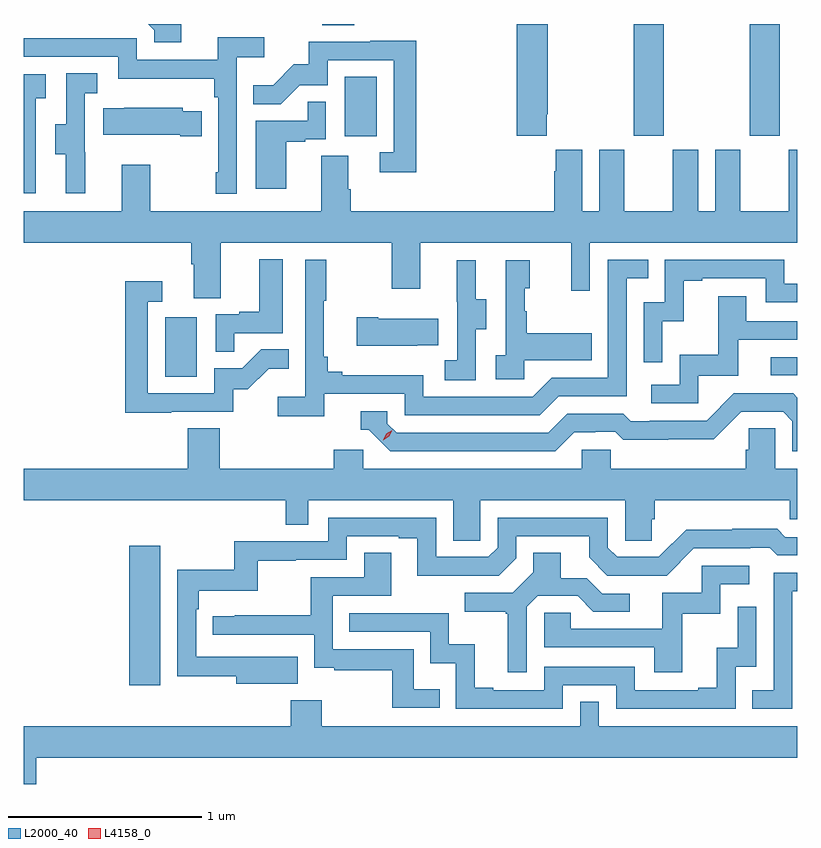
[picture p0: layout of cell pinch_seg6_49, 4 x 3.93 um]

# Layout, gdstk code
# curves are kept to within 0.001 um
import gdstk
lib = gdstk.Library(unit=1e-6, precision=1e-09)
def R(c, l, rs):  # rectangles x0, y0, x1, y1
    for r in rs: c.add(gdstk.rectangle(r[:2], r[2:], *l))
def P(c, l, *ps):  # polygons
    for p in ps: c.add(gdstk.Polygon(p, *l))
L2000_40 = (2000, 40)
L4158_0 = (4158, 0)

pinch_seg6_49 = lib.new_cell('pinch_seg6_49')
R(pinch_seg6_49, L2000_40, [(986.09,937.056,986.251,937.777), (986.276,938.652,986.44,938.959), (989.409,938.658,989.545,938.751), (987.206,939.894,987.37,940.201), (988.699,939.897,988.854,940.475), (989.299,939.897,989.454,940.475), (987.089,940.468,987.254,940.475)])
P(pinch_seg6_49, L2000_40, [(988.249,940.009),(988.254,940.009),(988.254,940.475),(988.094,940.475),(988.094,939.897),(988.249,939.897)],
  [(986.359,940.475),(986.188,940.475),(986.22,940.443),(986.22,940.38),(986.359,940.38)],
  [(986.646,940.304),(986.788,940.304),(986.788,940.406),(986.549,940.406),(986.549,940.29),(986.13,940.29),(986.13,940.401),(985.545,940.401),(985.545,940.305),(986.034,940.305),(986.034,940.193),(986.53,940.193),(986.53,940.097),(986.55,940.097),(986.55,939.709),(986.538,939.709),(986.538,939.597),(986.646,939.597)],
  [(987.575,940.388),(987.337,940.388),(987.337,940.383),(987.019,940.383),(987.019,940.266),(986.942,940.266),(986.835,940.159),(986.731,940.159),(986.731,940.06),(986.875,940.06),(986.973,940.158),(987.117,940.158),(987.117,940.287),(987.459,940.287),(987.459,939.813),(987.387,939.813),(987.387,939.708),(987.575,939.708)],
  [(985.862,939.813),(985.86,939.813),(985.86,940.117),(985.924,940.117),(985.924,940.22),(985.764,940.22),(985.764,939.957),(985.709,939.957),(985.709,939.802),(985.763,939.802),(985.763,939.6),(985.862,939.6)],
  [(985.608,940.091),(985.66,940.091),(985.66,940.215),(985.545,940.215),(985.545,939.6),(985.608,939.6)],
  [(986.902,939.867),(987.002,939.867),(987.002,939.879),(987.108,939.879),(987.108,940.073),(987.013,940.073),(987.013,939.975),(986.744,939.975),(986.744,939.624),(986.902,939.624)],
  [(986.465,940.024),(986.367,940.024),(986.367,940.042),(986.065,940.042),(986.065,940.039),(985.957,940.039),(985.957,939.902),(986.354,939.902),(986.354,939.895),(986.465,939.895)],
  [(986.563,939.344),(987.448,939.344),(987.448,939.105),(987.595,939.105),(987.595,939.344),(988.376,939.344),(988.376,939.096),(988.473,939.096),(988.473,939.344),(989.545,939.344),(989.545,939.826),(989.501,939.826),(989.501,939.508),(989.251,939.508),(989.251,939.826),(989.12,939.826),(989.12,939.508),(989.032,939.508),(989.032,939.826),(988.901,939.826),(988.901,939.508),(988.651,939.508),(988.651,939.826),(988.52,939.826),(988.52,939.508),(988.432,939.508),(988.432,939.826),(988.295,939.826),(988.295,939.713),(988.289,939.713),(988.289,939.508),(987.236,939.508),(987.236,939.62),(987.223,939.62),(987.223,939.794),(987.083,939.794),(987.083,939.508),(986.199,939.508),(986.199,939.748),(986.051,939.748),(986.051,939.508),(985.545,939.508),(985.545,939.344),(986.411,939.344),(986.411,939.232),(986.423,939.232),(986.423,939.058),(986.563,939.058)],
  [(986.633,938.877),(986.884,938.877),(986.884,939.259),(986.762,939.259),(986.762,938.986),(986.659,938.986),(986.659,938.973),(986.538,938.973),(986.538,938.779),(986.633,938.779)],
  [(987.098,938.562),(987.516,938.562),(987.516,938.451),(988.213,938.451),(988.312,938.55),(988.662,938.55),(988.662,939.159),(988.775,939.159),(988.775,939.255),(988.566,939.255),(988.566,938.646),(988.275,938.646),(988.176,938.547),(987.612,938.547),(987.612,938.659),(987.193,938.659),(987.193,938.678),(987.116,938.678),(987.116,938.755),(987.097,938.755),(987.097,939.043),(987.109,939.043),(987.109,939.256),(987,939.256),(987,938.548),(986.859,938.548),(986.859,938.446),(987.098,938.446)],
  [(988.848,938.939),(988.958,938.939),(988.958,939.147),(989.053,939.147),(989.053,939.159),(989.382,939.159),(989.382,939.036),(989.545,939.036),(989.545,939.132),(989.478,939.132),(989.478,939.255),(988.86,939.255),(988.86,939.036),(988.752,939.036),(988.752,938.727),(988.848,938.727)],
  [(987.882,938.896),(987.937,938.896),(987.937,939.051),(987.883,939.051),(987.883,939.253),(987.785,939.253),(987.785,939.039),(987.786,939.039),(987.786,938.735),(987.723,938.735),(987.723,938.632),(987.882,938.632)],
  [(988.134,938.735),(988.481,938.735),(988.481,938.875),(988.147,938.875),(988.147,938.99),(988.137,938.99),(988.137,939.108),(988.162,939.108),(988.162,939.253),(988.038,939.253),(988.038,938.762),(987.987,938.762),(987.987,938.637),(988.134,938.637)],
  [(986.309,938.469),(986.628,938.469),(986.628,938.586),(986.704,938.586),(986.811,938.693),(986.915,938.693),(986.915,938.792),(986.772,938.792),(986.674,938.694),(986.529,938.694),(986.529,938.565),(986.187,938.565),(986.187,939.039),(986.26,939.039),(986.26,939.145),(986.071,939.145),(986.071,938.464),(986.309,938.464)],
  [(989.034,938.655),(989.239,938.655),(989.239,938.841),(989.545,938.841),(989.545,938.937),(989.281,938.937),(989.281,939.067),(989.137,939.067),(989.137,938.764),(988.938,938.764),(988.938,938.61),(988.791,938.61),(988.791,938.514),(989.034,938.514)],
  [(987.581,938.813),(987.689,938.813),(987.689,938.95),(987.379,938.95),(987.379,938.958),(987.267,938.958),(987.267,938.81),(987.581,938.81)],
  [(988.393,938.364),(988.5,938.364),(988.5,938.367),(988.603,938.367),(988.645,938.325),(988.878,938.325),(988.878,938.327),(989.114,938.327),(989.256,938.469),(989.472,938.469),(989.52,938.421),(989.52,938.265),(989.545,938.265),(989.545,938.543),(989.523,938.565),(989.217,938.565),(989.076,938.424),(988.783,938.424),(988.783,938.421),(988.684,938.421),(988.645,938.46),(988.356,938.46),(988.257,938.361),(987.474,938.361),(987.426,938.409),(987.426,938.472),(987.287,938.472),(987.287,938.376),(987.33,938.376),(987.441,938.265),(988.294,938.265)],
  [(987.906,938.012),(988.656,938.012),(988.656,937.804),(988.793,937.804),(988.793,937.914),(988.808,937.914),(988.808,938.012),(989.505,938.012),(989.505,937.914),(989.545,937.914),(989.545,938.176),(989.43,938.176),(989.43,938.384),(989.293,938.384),(989.293,938.274),(989.279,938.274),(989.279,938.176),(988.581,938.176),(988.581,938.274),(988.431,938.274),(988.431,938.176),(987.3,938.176),(987.3,938.274),(987.149,938.274),(987.149,938.176),(986.558,938.176),(986.558,938.384),(986.393,938.384),(986.393,938.176),(985.545,938.176),(985.545,938.012),(986.899,938.012),(986.899,937.885),(987.015,937.885),(987.015,938.012),(987.767,938.012),(987.767,937.804),(987.906,937.804)],
  [(986.963,937.204),(986.436,937.203),(986.436,937.448),(986.45,937.448),(986.45,937.544),(986.755,937.544),(986.755,937.699),(986.951,937.699),(986.951,937.704),(987.216,937.704),(987.216,937.827),(987.485,937.827),(987.485,937.815),(987.581,937.815),(987.581,937.622),(988.002,937.623),(988.092,937.713),(988.092,937.827),(988.469,937.827),(988.469,937.717),(988.563,937.623),(988.869,937.623),(989.01,937.764),(989.303,937.764),(989.303,937.767),(989.402,937.767),(989.441,937.728),(989.545,937.728),(989.545,937.821),(989.483,937.821),(989.441,937.864),(989.208,937.864),(989.208,937.861),(988.972,937.861),(988.83,937.719),(988.614,937.719),(988.566,937.767),(988.566,937.923),(987.996,937.923),(987.996,937.767),(987.948,937.719),(987.678,937.719),(987.678,937.923),(987.12,937.923),(987.12,937.8),(986.634,937.8),(986.634,937.654),(986.34,937.654),(986.34,937.102),(986.645,937.102),(986.645,937.064),(986.963,937.064)],
  [(988.146,937.461),(988.203,937.518),(988.409,937.518),(988.49,937.437),(988.678,937.437),(988.678,937.53),(988.536,937.53),(988.456,937.61),(988.321,937.61),(988.321,937.742),(988.181,937.742),(988.181,937.64),(988.074,937.533),(987.825,937.533),(987.825,937.436),(988.038,937.436),(988.038,937.425),(988.049,937.425),(988.049,937.122),(988.146,937.122)],
  [(987.695,937.036),(987.561,937.036),(987.561,937.242),(987.144,937.242),(987.144,937.518),(987.445,937.518),(987.445,937.742),(987.305,937.742),(987.305,937.614),(987.028,937.614),(987.028,937.418),(986.635,937.418),(986.635,937.413),(986.523,937.413),(986.523,937.317),(987.048,937.317),(987.048,937.145),(987.151,937.145),(987.151,937.134),(987.45,937.134),(987.45,936.939),(987.695,936.939)],
  [(988.949,937.425),(989.148,937.425),(989.148,937.578),(989.296,937.578),(989.296,937.674),(989.052,937.674),(989.052,937.533),(988.847,937.533),(988.847,937.347),(988.373,937.347),(988.373,937.431),(988.236,937.431),(988.236,937.251),(988.805,937.251),(988.805,937.122),(988.949,937.122)],
  [(989.52,937.542),(989.545,937.542),(989.545,937.638),(989.424,937.638),(989.424,937.029),(989.311,937.029),(989.311,936.933),(989.52,936.933)],
  [(988.332,937.056),(988.608,937.056),(988.608,936.933),(989.226,936.933),(989.226,937.152),(989.334,937.152),(989.334,937.462),(989.238,937.462),(989.238,937.25),(989.129,937.25),(989.129,937.042),(989.033,937.042),(989.033,937.029),(988.704,937.029),(988.704,937.152),(988.236,937.152),(988.236,937.029),(987.973,937.029),(987.973,937.042),(987.877,937.042),(987.877,937.267),(987.744,937.267),(987.744,937.428),(987.229,937.428),(987.229,937.332),(987.648,937.332),(987.648,937.169),(987.78,937.169),(987.78,936.933),(988.332,936.933)],
  [(985.61,936.68),(989.545,936.68),(989.545,936.844),(988.518,936.844),(988.518,936.971),(988.422,936.971),(988.422,936.844),(987.087,936.844),(987.087,936.979),(986.927,936.979),(986.927,936.844),(985.545,936.844),(985.545,936.545),(985.61,936.545)])
P(pinch_seg6_49, L4158_0, [(987.403,938.323),(987.403,938.323),(987.42,938.355),(987.451,938.374),(987.451,938.374),(987.451,938.374),(987.434,938.342),(987.403,938.323)])

lib.write_gds('pinch_seg6_49.gds')
